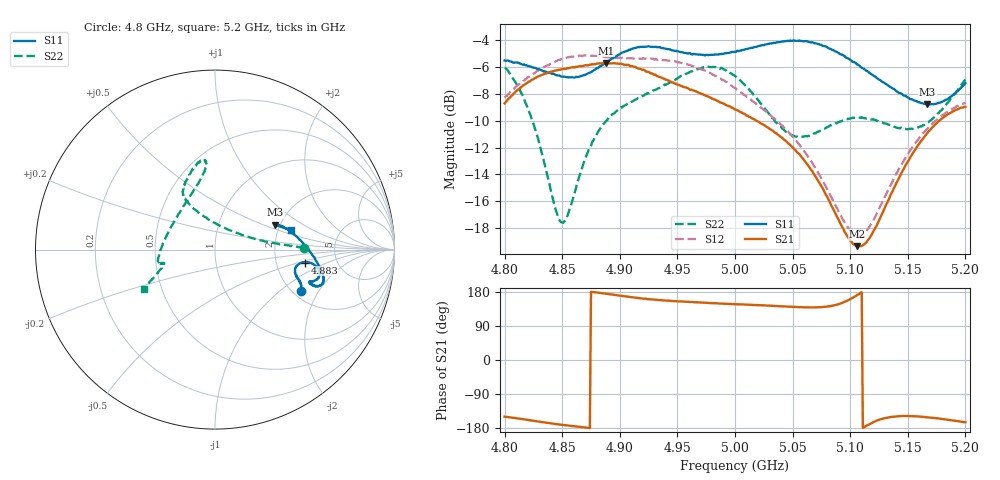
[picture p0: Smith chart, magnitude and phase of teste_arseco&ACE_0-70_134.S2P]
! Network Analyzer HP8722D
! Hewlett-Packard
! Data name: Linha & Wilkinson
! Saver's name: Rodrigo Anjos
! Comments: Teste da utilização de aquisição
! continua pelo VNA HP8722D
! Time and date: 8/5/2025 13:52
!  Frequency  S11  S21  S12  S22
# HZ  S  MA R 50
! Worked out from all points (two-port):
!   401 points, 4.8 GHz to 5.2 GHz, reference 50 ohm
!   highest |S21| = -5.68 dB at 4.888 GHz (marker M1); lowest = -19.4 dB at 5.106 GHz (marker M2)
!   |S21| within 3 dB of the highest: 4.8 GHz to 4.989 GHz (189.3 MHz wide, 3.87 % of centre)
!   lowest |S11| = -8.8 dB at 5.167 GHz (marker M3), VSWR 2.14, Z = 94.3 + j30.3 ohm
!   |S11| at or under -10 dB: nowhere
!   |S22| runs from -17.6 to -6.0 dB; largest |S21 - S12| = 1.1
!   S11 on the Smith chart (normalised r, x): 4.8 GHz: 2.23, -1.42; 4.883 GHz: 2.93, -0.57; 5.2 GHz: 2.34, +0.64
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4.8e9  0.5317 -25.4  0.3677 -149.6  0.3858 9.9  0.498 1.3
4.811e9  0.5227 -22.7  0.4111 -154.1  0.4283 8.3  0.4284 2.8
4.822e9  0.505 -20.9  0.4444 -158.9  0.4653 6.5  0.3362 5.9
4.848e9  0.4656 -16.3  0.4901 -170.3  0.5342 2.5  0.1337 55.6
4.854e9  0.4602 -14.4  0.4966 -172.7  0.5446 1.6  0.1383 81.3
4.867e9  0.4657 -10.8  0.5067 -177.2  0.5518 -0.3  0.2096 111.5
4.883e9  0.506 -8.2  0.5178 176.9  0.5502 -1.7  0.2966 119.9
4.888e9  0.5233 -8.1  0.5197 174.9  0.5458 -1.6  0.3153 120.6
4.913e9  0.5915 -11.2  0.5033 164.7  0.5416 -1.0  0.3786 118.1
4.934e9  0.5954 -15.8  0.4612 158.1  0.5361 -2.0  0.4186 112.2
4.975e9  0.5578 -18.9  0.3918 150.8  0.4859 -5.5  0.501 98.8
5e9  0.5733 -19.7  0.3487 147.3  0.4199 -5.7  0.4645 96.4
5.018e9  0.5972 -19.7  0.3174 145.2  0.3683 -2.9  0.3873 103.5
5.044e9  0.6264 -17.9  0.2662 141.2  0.2935 2.6  0.2882 131.6
5.067e9  0.6214 -13.6  0.2055 138.8  0.2206 9.2  0.2806 164.5
5.095e9  0.5522 -4.2  0.1221 153.0  0.1324 33.1  0.3187 -171.8
5.106e9  0.5131 0.9  0.1077 171.2  0.118 53.7  0.3255 -168.2
5.116e9  0.4808 6.1  0.1142 -170.5  0.126 73.7  0.3214 -166.3
5.134e9  0.425 14.6  0.1629 -151.0  0.1781 94.6  0.3055 -165.7
5.167e9  0.364 22.5  0.2848 -151.0  0.296 101.9  0.312 -161.5
5.183e9  0.3784 20.2  0.3305 -156.9  0.3385 101.9  0.3621 -156.7
5.2e9  0.4375 14.7  0.3567 -164.5  0.37 102.2  0.4511 -150.6
